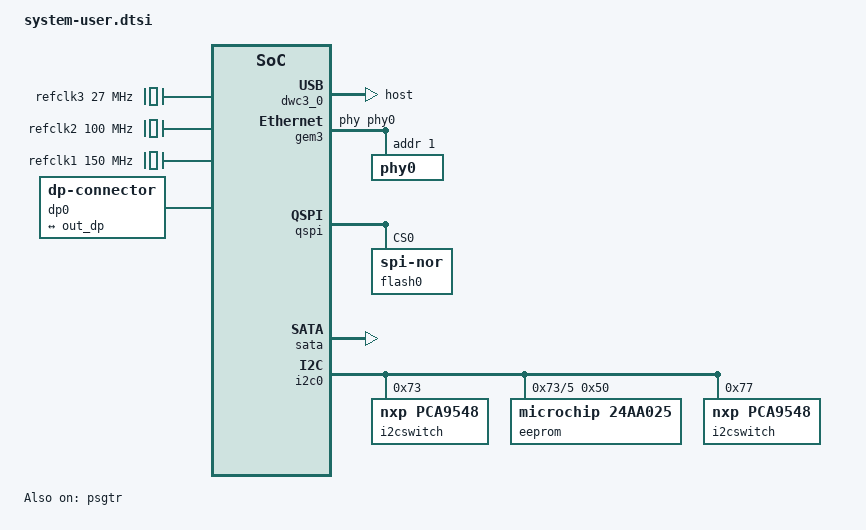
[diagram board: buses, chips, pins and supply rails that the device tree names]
#include "system-conf.dtsi"
#include <dt-bindings/phy/phy.h>

/ {
	chosen {
		xlnx,eeprom = &eeprom;
	};
	
	// Xilinx messed up ZYNQ PLL configuration in Petalinux 2024
	// Without workaround added below the PL clocks stops as soon as the device tree is loaded by kernel
	fclk0:fclk0 {
		status = "okay";
		compatible = "xlnx,fclk";
		clocks = <0x04 0x47>;
		phandle = <0xa5>;
	};
	
	fclk1 {
		status = "okay";
		compatible = "xlnx,fclk";
		clocks = <0x04 0x48>;
		phandle = <0xa6>;
	};
	
	fclk2 {
		status = "okay";
		compatible = "xlnx,fclk";
		clocks = <0x04 0x49>;
		phandle = <0xa7>;
  };
	
	fclk3 {
		status = "okay";
		compatible = "xlnx,fclk";
		clocks = <0x04 0x4a>;
		phandle = <0xa8>;
	};
	
	// I2C bus aliases to hardcode bus numbers
	aliases {
		i2c30 = &i2c_mux73_port0;		// TEBF0808 MCLK - SI5338A, 570FBB000290DG_unassembled
		i2c31 = &i2c_mux73_port1;		// TEBF0808 SFP_EXP PCF8574DWR
		i2c32 = &i2c_mux73_port2;		// TEBF0808 PCIEx
		i2c33 = &i2c_mux73_port3;		// TEBF0808 SFP1
		i2c34 = &i2c_mux73_port4;		// TEBF0808 SFP2
		i2c35 = &i2c_mux73_port5;		// TEBF0808 EEPROMs
		i2c36 = &i2c_mux73_port6;		// TEBF0808 FMC - Gutsy Ferret backplane
		i2c37 = &i2c_mux73_port7;		// TEBF0808 USB hub
		
		i2c70 = &i2c_mux77_port0;		// TEBF0808 PMOD P1
		i2c71 = &i2c_mux77_port1;		// TEBF0808 I2C audio codec
		i2c72 = &i2c_mux77_port2;		// TEBF0808 Firefly A
		i2c73 = &i2c_mux77_port3;		// TEBF0808 Firefly B
		i2c74 = &i2c_mux77_port4;		// TE0808 PLL Si5338 or SI5345
		i2c75 = &i2c_mux77_port5;		// TEBF0808 CPLD
		i2c76 = &i2c_mux77_port6;		// TEBF0808 Firefly expander PCF8574DWR
		i2c77 = &i2c_mux77_port7;		// TEBF0808 PMOD P3
	};
};

&AXI_DMA {
	compatible = "generic-uio";
	linux,uio-name = "AXI_DMA";
};

&AXI_BRAM_DESCR_ZYNQ {
	compatible = "generic-uio";
	linux,uio-name = "AXI_BRAM_DESCR_ZYNQ";
};

&SAXI_IODELAY {
	compatible = "generic-uio";
	linux,uio-name = "SAXI_IODELAY";
};

&SAXI_READOUT_CONTROL {
	compatible = "generic-uio";
	linux,uio-name = "SAXI_READOUT_CONTROL";
};

&SAXI_READOUT_STATUS {
	compatible = "generic-uio";
	linux,uio-name = "SAXI_READOUT_STATUS";
};

&SAXI_DAQ {
	compatible = "generic-uio";
	linux,uio-name = "SAXI_DAQ";
};

&SAXI_CLKDIV {
	compatible = "generic-uio";
	linux,uio-name = "SAXI_CLKDIV";
};

&HW_info_ROM_BRAM {
	compatible = "generic-uio";
	linux,uio-name = "HW_info_ROM_BRAM";
};

// ========================================
//  TEBF0808 specific config
//  Do not modify anything below!
// ========================================

/*------------------ PS GTR --------------------*/
// https://xilinx-wiki.atlassian.net/wiki/spaces/A/pages/18841716/Zynq+Ultrascale+MPSOC+Linux+SIOU+driver
/ {
	refclk3:refclk_dp {
		compatible = "fixed-clock";
		#clock-cells = <0>;
		clock-frequency = <27000000>;
	};
	
	refclk2:refclk_usb {
		compatible = "fixed-clock";
		#clock-cells = <0>;
		clock-frequency = <100000000>;
	};
	
	refclk1:refclk_sata {
		compatible = "fixed-clock";
		#clock-cells = <0>;
		clock-frequency = <150000000>;
	};
	
	//refclk0:refclk_unused {
	//        compatible = "fixed-clock";
	//        #clock-cells = <0x00>;
	//        clock-frequency = <100000000>;
	//};
};
  
&psgtr {
	status = "okay";
	clocks = <&refclk1>,<&refclk2>,<&refclk3>;
	/* ref clk instances used per lane */
	clock-names = "ref1","ref2","ref3";
};

/*------------------ DP --------------------*/
/ {
	connector {
		compatible = "dp-connector";
		label = "dp0";
		type = "full-size";
		port {
			dp_connector_in: endpoint {
				remote-endpoint = <&out_dp>;
			};
		};
	};
};

&zynqmp_dpsub {
	//status = "okay";
	//phy-names = "dp-phy0";
	//phys = <&psgtr 3 PHY_TYPE_DP 0 3>;
	
	ports{
		port@5 {
			dpsub_dp_out: endpoint {
				remote-endpoint = <&dp_connector_in>;
			};
		};
	};
};

/*------------------ SD --------------------*/
&sdhci0 {
	status = "disabled";
	bus-width = <8>;
};

&sdhci1 {
	// disable-wp;
	no-1-8-v;
};

/*------------------ USB --------------------*/
&dwc3_0 {
	//status = "okay";
	dr_mode = "host";
	//snps,usb3_lpm_capable;
	//snps,dis_u3_susphy_quirk;
	//snps,dis_u2_susphy_quirk;
	//phy-names = "usb2-phy","usb3-phy";
	//maximum-speed = "super-speed";
	//phys = <&psgtr 1 PHY_TYPE_USB3 0 2>;
};

/*------------------ ETH PHY --------------------*/
&gem3 {
	/delete-property/ local-mac-address;
	phy-handle = <&phy0>;
	
	nvmem-cells = <&eth0_addr>;
	nvmem-cell-names = "mac-address";
	
	phy0: phy0@1 {
		device_type = "ethernet-phy";
		reg = <1>;
	};
};

 
/*------------------ QSPI --------------------*/
&qspi {
	#address-cells = <1>;
	#size-cells = <0>;
	status = "okay";
	flash0: flash@0 {
		compatible = "jedec,spi-nor";
		reg = <0x0>;
		#address-cells = <1>;
		#size-cells = <1>;
	};
};

/*------------------ SATA --------------------*/
/* The following entries are missing in Yocto */
/* sources used by Petalinux 2022.2           */
/* It is a Yocto bug, but currently these     */
/* entries have to be added manually here.    */
&sata {
	status = "okay";
	ceva,p0-burst-params = <0x13084a06>;
	ceva,p0-cominit-params = <0x18401828>;
	ceva,p0-comwake-params = <0x614080e>;
	ceva,p0-retry-params = <0x96a43ffc>;
	ceva,p1-burst-params = <0x13084a06>;
	ceva,p1-cominit-params = <0x18401828>;
	ceva,p1-comwake-params = <0x614080e>;
	ceva,p1-retry-params = <0x96a43ffc>;
};


/*------------------ I2C --------------------*/
&i2c0 {
	i2cswitch@73 {
		compatible = "nxp,pca9548";
		#address-cells = <1>;
		#size-cells = <0>;
		reg = <0x73>;
		i2c-mux-idle-disconnect;
		i2c_mux73_port0: i2c@0 { // MCLK TEBF0808 SI5338A, 570FBB000290DG_unassembled
			reg = <0>;
		};
		i2c_mux73_port1: i2c@1 { // SFP TEBF0808 PCF8574DWR
			reg = <1>;
		};
		i2c_mux73_port2: i2c@2 { // PCIe
			reg = <2>;
		};
		i2c_mux73_port3: i2c@3 { // SFP1 TEBF0808
			reg = <3>;
		};
		i2c_mux73_port4: i2c@4 {// SFP2 TEBF0808
			reg = <4>;
		};
		i2c_mux73_port5: i2c@5 { // TEBF0808 EEPROM
			reg = <5>;
			eeprom: eeprom@50 {
				compatible = "microchip,24aa025", "atmel,24c02";
				reg = <0x50>;
				
				#address-cells = <1>;
				#size-cells = <1>;
				eth0_addr: eth-mac-addr@FA {
				  reg = <0xFA 0x06>;
				};
		   };
		};
		i2c_mux73_port6: i2c@6 { // TEBF0808 FMC
			reg = <6>;
		};
		i2c_mux73_port7: i2c@7 { // TEBF0808 USB HUB
			reg = <7>;
		};
	};
	i2cswitch@77 {
		compatible = "nxp,pca9548";
		reg = <0x77>;
		i2c-mux-idle-disconnect;
		i2c_mux77_port0: i2c@0 { // TEBF0808 PMOD P1
			reg = <0>;
		};
		i2c_mux77_port1: i2c@1 { // i2c Audio Codec
			reg = <1>;
			/*
			adau1761: adau1761@38 {
				compatible = "adi,adau1761";
				reg = <0x38>;
			};
			*/
		};
		i2c_mux77_port2: i2c@2 { // TEBF0808 Firefly A
			reg = <2>;
		};
		i2c_mux77_port3: i2c@3 { // TEBF0808 Firefly B
			reg = <3>;
		};
		i2c_mux77_port4: i2c@4 { //Module PLL Si5338 or SI5345
			reg = <4>;
		};
		i2c_mux77_port5: i2c@5 { //TEBF0808 CPLD
			reg = <5>;
		};
		i2c_mux77_port6: i2c@6 { //TEBF0808 Firefly PCF8574DWR
			reg = <6>;
		};
		i2c_mux77_port7: i2c@7 { // TEBF0808 PMOD P3
			reg = <7>;
		};
	};
};
